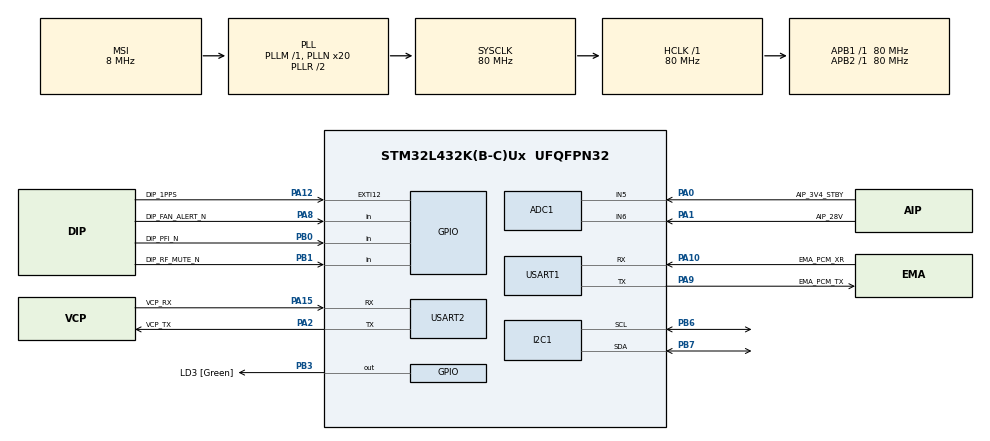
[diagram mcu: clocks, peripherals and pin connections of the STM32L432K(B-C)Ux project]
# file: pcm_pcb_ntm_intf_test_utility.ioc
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ADC1.Channel-0\#ChannelRegularConversion=ADC_CHANNEL_VREFINT
ADC1.Channel-1\#ChannelRegularConversion=ADC_CHANNEL_5
ADC1.Channel-2\#ChannelRegularConversion=ADC_CHANNEL_6
ADC1.NbrOfConversion=3
ADC1.NbrOfConversionFlag=1
ADC1.OffsetNumber-0\#ChannelRegularConversion=ADC_OFFSET_NONE
ADC1.OffsetNumber-1\#ChannelRegularConversion=ADC_OFFSET_NONE
ADC1.OffsetNumber-2\#ChannelRegularConversion=ADC_OFFSET_NONE
ADC1.Rank-0\#ChannelRegularConversion=1
ADC1.Rank-1\#ChannelRegularConversion=2
ADC1.Rank-2\#ChannelRegularConversion=3
ADC1.SamplingTime-0\#ChannelRegularConversion=ADC_SAMPLETIME_247CYCLES_5
ADC1.SamplingTime-1\#ChannelRegularConversion=ADC_SAMPLETIME_247CYCLES_5
ADC1.SamplingTime-2\#ChannelRegularConversion=ADC_SAMPLETIME_247CYCLES_5
ADC1.master=1
FREERTOS.INCLUDE_eTaskGetState=1
FREERTOS.INCLUDE_uxTaskGetStackHighWaterMark=1
FREERTOS.INCLUDE_vTaskDelayUntil=1
FREERTOS.Queues01=serialRxEventQueue,128,uint32_t,0,Dynamic,NULL,NULL;serialCmdTaskRxData,128,uint32_t,0,Dynamic,NULL,NULL;serialCmdTaskTxData,512,uint32_t,0,Dynamic,NULL,NULL;serialEchoTaskRxData,32,uint32_t,0,Dynamic,NULL,NULL;serialEchoTaskTxData,32,uint32_t,0,Dynamic,NULL,NULL
FREERTOS.Tasks01=defaultTask,0,128,StartDefaultTask,Default,NULL,Dynamic,NULL,NULL;serialBufferTask,-1,512,sbt_SerialBufferTask,As external,NULL,Dynamic,NULL,NULL;serialCmdTask,-2,512,sct_SerialCmdTask,As external,NULL,Dynamic,NULL,NULL;serialEchoTask,-2,256,set_SerialEchoTask,As external,NULL,Dynamic,NULL,NULL
FREERTOS.configMAX_TASK_NAME_LEN=32
FREERTOS.configRECORD_STACK_HIGH_ADDRESS=0
FREERTOS.configTOTAL_HEAP_SIZE=12288
I2C1.Timing=0x10909CEC
Mcu.Family=STM32L4
Mcu.Name=STM32L432K(B-C)Ux
Mcu.Package=UFQFPN32
NVIC.EXTI15_10_IRQn=true\:5\:0\:false\:false\:true\:true\:true\:true
NVIC.PriorityGroup=NVIC_PRIORITYGROUP_4
NVIC.TIM1_UP_TIM16_IRQn=true\:0\:0\:false\:false\:true\:false\:false\:true
NVIC.TimeBase=TIM1_UP_TIM16_IRQn
NVIC.TimeBaseIP=TIM16
NVIC.USART1_IRQn=true\:5\:0\:false\:false\:true\:true\:true\:true
NVIC.USART2_IRQn=true\:5\:0\:false\:false\:true\:true\:true\:true
PA0.GPIO_Label=AIP_3V4_STBY
PA0.Signal=ADCx_IN5
PA1.GPIO_Label=AIP_28V
PA1.Signal=ADCx_IN6
PA10.GPIO_Label=EMA_PCM_XR
PA10.Mode=Asynchronous
PA10.Signal=USART1_RX
PA12.GPIO_Label=DIP_1PPS
PA12.Signal=GPXTI12
PA13\ (JTMS-SWDIO).GPIO_Label=SWDIO
PA13\ (JTMS-SWDIO).Signal=SYS_JTMS-SWDIO
PA14\ (JTCK-SWCLK).GPIO_Label=SWCLK
PA14\ (JTCK-SWCLK).Signal=SYS_JTCK-SWCLK
PA15\ (JTDI).GPIO_Label=VCP_RX
PA15\ (JTDI).Mode=Asynchronous
PA15\ (JTDI).Signal=USART2_RX
PA2.GPIO_Label=VCP_TX
PA2.Mode=Asynchronous
PA2.Signal=USART2_TX
PA8.GPIO_Label=DIP_FAN_ALERT_N
PA8.Signal=GPIO_Input
PA9.GPIO_Label=EMA_PCM_TX
PA9.Mode=Asynchronous
PA9.Signal=USART1_TX
PB0.GPIO_Label=DIP_PFI_N
PB0.Signal=GPIO_Input
PB1.GPIO_Label=DIP_RF_MUTE_N
PB1.Signal=GPIO_Input
PB3\ (JTDO-TRACESWO).GPIO_Label=LD3 [Green]
PB3\ (JTDO-TRACESWO).Signal=GPIO_Output
PB6.Mode=I2C
PB6.Signal=I2C1_SCL
PB7.Mode=I2C
PB7.Signal=I2C1_SDA
PC14-OSC32_IN\ (PC14).Mode=LSE-External-Oscillator
PC14-OSC32_IN\ (PC14).Signal=RCC_OSC32_IN
PC15-OSC32_OUT\ (PC15).Mode=LSE-External-Oscillator
PC15-OSC32_OUT\ (PC15).Signal=RCC_OSC32_OUT
ProjectManager.HeapSize=0x200
ProjectManager.StackSize=0x400
ProjectManager.TargetToolchain=STM32CubeIDE
RCC.ADCFreq_Value=32000000
RCC.AHBFreq_Value=80000000
RCC.APB1Freq_Value=80000000
RCC.APB1TimFreq_Value=80000000
RCC.APB2Freq_Value=80000000
RCC.APB2TimFreq_Value=80000000
RCC.CortexFreq_Value=80000000
RCC.HCLKFreq_Value=80000000
RCC.HSE_VALUE=8000000
RCC.HSI16_VALUE=16000000
RCC.HSI48_VALUE=48000000
RCC.HSI_VALUE=16000000
RCC.MSIClockRange=RCC_MSIRANGE_7
RCC.MSI_VALUE=8000000
RCC.PLLMUL=RCC_PLLMUL_4
RCC.PLLN=20
RCC.SYSCLKFreq_VALUE=80000000
RCC.SYSCLKSource=RCC_SYSCLKSOURCE_PLLCLK
RCC.USBFreq_Value=32000000
RCC.VCOOutputFreq_Value=160000000
SH.ADCx_IN5.0=ADC1_IN5,IN5-Single-Ended
SH.ADCx_IN6.0=ADC1_IN6,IN6-Single-Ended
USART1.VirtualMode-Asynchronous=VM_ASYNC
USART2.VirtualMode-Asynchronous=VM_ASYNC
VP_ADC1_Vref_Input.Mode=IN-Vrefint
VP_FREERTOS_VS_CMSIS_V1.Mode=CMSIS_V1
VP_SYS_VS_tim16.Mode=TIM16
board=NUCLEO-L432KC

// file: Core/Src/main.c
/* USER CODE BEGIN Header */
/**
  ******************************************************************************
  * @file           : main.c
  * @brief          : Main program body
  ******************************************************************************
  * @attention
  *
  * <h2><center>&copy; Copyright (c) 2020 STMicroelectronics.
  * All rights reserved.</center></h2>
  *
  * This software component is licensed by ST under BSD 3-Clause license,
  * the "License"; You may not use this file except in compliance with the
  * License. You may obtain a copy of the License at:
  *                        opensource.org/licenses/BSD-3-Clause
  *
  ******************************************************************************
  */
/* USER CODE END Header */
#include "main.h"
#include "cmsis_os.h"

/* USER CODE BEGIN Includes */
#include "serial_buffer_task.h"
#include "serial_echo_task.h"
#include "serial_cmd_task.h"
/* USER CODE END Includes */

ADC_HandleTypeDef hadc1;

I2C_HandleTypeDef hi2c1;

UART_HandleTypeDef huart1;
UART_HandleTypeDef huart2;

osThreadId defaultTaskHandle;
osThreadId serialBufferTaskHandle;
osThreadId serialCmdTaskHandle;
osThreadId serialEchoTaskHandle;
osMessageQId serialRxEventQueueHandle;
osMessageQId serialCmdTaskRxDataHandle;
osMessageQId serialCmdTaskTxDataHandle;
osMessageQId serialEchoTaskRxDataHandle;
osMessageQId serialEchoTaskTxDataHandle;

void SystemClock_Config(void);
static void MX_GPIO_Init(void);
static void MX_ADC1_Init(void);
static void MX_I2C1_Init(void);
static void MX_USART1_UART_Init(void);
static void MX_USART2_UART_Init(void);
void StartDefaultTask(void const * argument);
extern void sbt_SerialBufferTask(void const * argument);
extern void sct_SerialCmdTask(void const * argument);
extern void set_SerialEchoTask(void const * argument);

int main(void)
{
  /* USER CODE BEGIN 1 */
	sbt_Init_t sbt_init_data;
	sct_Init_t sct_init_data;
	set_Init_t set_init_data;
  /* USER CODE END 1 */

  /* MCU Configuration--------------------------------------------------------*/

  /* Reset of all peripherals, Initializes the Flash interface and the Systick. */
  HAL_Init();

  /* Configure the system clock */
  SystemClock_Config();

  /* Initialize all configured peripherals */
  MX_GPIO_Init();
  MX_ADC1_Init();
  MX_I2C1_Init();
  MX_USART1_UART_Init();
  MX_USART2_UART_Init();

  /* Create the queue(s) */
  /* definition and creation of serialRxEventQueue */
  osMessageQDef(serialRxEventQueue, 128, uint32_t);
  serialRxEventQueueHandle = osMessageCreate(osMessageQ(serialRxEventQueue), NULL);

  /* definition and creation of serialCmdTaskRxData */
  osMessageQDef(serialCmdTaskRxData, 128, uint32_t);
  serialCmdTaskRxDataHandle = osMessageCreate(osMessageQ(serialCmdTaskRxData), NULL);

  /* definition and creation of serialCmdTaskTxData */
  osMessageQDef(serialCmdTaskTxData, 512, uint32_t);
  serialCmdTaskTxDataHandle = osMessageCreate(osMessageQ(serialCmdTaskTxData), NULL);

  /* definition and creation of serialEchoTaskRxData */
  osMessageQDef(serialEchoTaskRxData, 32, uint32_t);
  serialEchoTaskRxDataHandle = osMessageCreate(osMessageQ(serialEchoTaskRxData), NULL);

  /* definition and creation of serialEchoTaskTxData */
  osMessageQDef(serialEchoTaskTxData, 32, uint32_t);
  serialEchoTaskTxDataHandle = osMessageCreate(osMessageQ(serialEchoTaskTxData), NULL);

  /* Create the thread(s) */
  /* definition and creation of defaultTask */
  osThreadDef(defaultTask, StartDefaultTask, osPriorityNormal, 0, 128);
  defaultTaskHandle = osThreadCreate(osThread(defaultTask), NULL);

  /* definition and creation of serialBufferTask */
  osThreadDef(serialBufferTask, sbt_SerialBufferTask, osPriorityBelowNormal, 0, 512);
  serialBufferTaskHandle = osThreadCreate(osThread(serialBufferTask), NULL);

  /* definition and creation of serialCmdTask */
  osThreadDef(serialCmdTask, sct_SerialCmdTask, osPriorityLow, 0, 512);
  serialCmdTaskHandle = osThreadCreate(osThread(serialCmdTask), NULL);

  /* definition and creation of serialEchoTask */
  osThreadDef(serialEchoTask, set_SerialEchoTask, osPriorityLow, 0, 256);
  serialEchoTaskHandle = osThreadCreate(osThread(serialEchoTask), NULL);

  /* USER CODE BEGIN RTOS_THREADS */
  /* add threads, ... */
  sbt_init_data.rx_event_queue				= serialRxEventQueueHandle;
  sbt_init_data.no_uarts					= 2;
  sbt_init_data.uarts[0].huart 				= &huart2;
  sbt_init_data.uarts[0].uart_rx_data_queue	= serialCmdTaskRxDataHandle;
  sbt_init_data.uarts[0].uart_tx_data_queue	= serialCmdTaskTxDataHandle;
  sbt_init_data.uarts[1].huart 				= &huart1;
  sbt_init_data.uarts[1].uart_rx_data_queue	= serialEchoTaskRxDataHandle;
  sbt_init_data.uarts[1].uart_tx_data_queue	= serialEchoTaskTxDataHandle;
  sbt_InitTask(sbt_init_data);

  set_init_data.tx_data_queue = serialEchoTaskTxDataHandle;
  set_init_data.rx_data_queue = serialEchoTaskRxDataHandle;
  set_InitTask(set_init_data);

  sct_init_data.tx_data_queue 				= serialCmdTaskTxDataHandle;
  sct_init_data.rx_data_queue 				= serialCmdTaskRxDataHandle;
  sct_init_data.i2c_device					= &hi2c1;
  sct_init_data.fan_alert_n_gpio_port		= DIP_FAN_ALERT_N_GPIO_Port;
  sct_init_data.fan_alert_n_gpio_pin		= DIP_FAN_ALERT_N_Pin;
  sct_init_data.rf_mute_n_gpio_port			= DIP_RF_MUTE_N_GPIO_Port;
  sct_init_data.rf_mute_n_gpio_pin			= DIP_RF_MUTE_N_Pin;
  sct_init_data.pfi_n_gpio_port 			= DIP_PFI_N_GPIO_Port;
  sct_init_data.pfi_n_gpio_pin				= DIP_PFI_N_Pin;
  sct_init_data.pps_gpio_pin				= DIP_1PPS_Pin;
  sct_init_data.aop_adc_hadc				= &hadc1;
  sct_InitTask(sct_init_data);
  /* USER CODE END RTOS_THREADS */

  /* Start scheduler */
  osKernelStart();

  /* We should never get here as control is now taken by the scheduler */
  /* Infinite loop */
  while (1)
  {

  }
}

void SystemClock_Config(void)
{
  RCC_OscInitTypeDef RCC_OscInitStruct = {0};
  RCC_ClkInitTypeDef RCC_ClkInitStruct = {0};
  RCC_PeriphCLKInitTypeDef PeriphClkInit = {0};

  /** Configure LSE Drive Capability
  */
  HAL_PWR_EnableBkUpAccess();
  __HAL_RCC_LSEDRIVE_CONFIG(RCC_LSEDRIVE_LOW);
  /** Initializes the RCC Oscillators according to the specified parameters
  * in the RCC_OscInitTypeDef structure.
  */
  RCC_OscInitStruct.OscillatorType = RCC_OSCILLATORTYPE_LSE|RCC_OSCILLATORTYPE_MSI;
  RCC_OscInitStruct.LSEState = RCC_LSE_ON;
  RCC_OscInitStruct.MSIState = RCC_MSI_ON;
  RCC_OscInitStruct.MSICalibrationValue = 0;
  RCC_OscInitStruct.MSIClockRange = RCC_MSIRANGE_7;
  RCC_OscInitStruct.PLL.PLLState = RCC_PLL_ON;
  RCC_OscInitStruct.PLL.PLLSource = RCC_PLLSOURCE_MSI;
  RCC_OscInitStruct.PLL.PLLM = 1;
  RCC_OscInitStruct.PLL.PLLN = 20;
  RCC_OscInitStruct.PLL.PLLP = RCC_PLLP_DIV7;
  RCC_OscInitStruct.PLL.PLLQ = RCC_PLLQ_DIV2;
  RCC_OscInitStruct.PLL.PLLR = RCC_PLLR_DIV2;
  if (HAL_RCC_OscConfig(&RCC_OscInitStruct) != HAL_OK)
  {
    Error_Handler();
  }
  /** Initializes the CPU, AHB and APB buses clocks
  */
  RCC_ClkInitStruct.ClockType = RCC_CLOCKTYPE_HCLK|RCC_CLOCKTYPE_SYSCLK
                              |RCC_CLOCKTYPE_PCLK1|RCC_CLOCKTYPE_PCLK2;
  RCC_ClkInitStruct.SYSCLKSource = RCC_SYSCLKSOURCE_PLLCLK;
  RCC_ClkInitStruct.AHBCLKDivider = RCC_SYSCLK_DIV1;
  RCC_ClkInitStruct.APB1CLKDivider = RCC_HCLK_DIV1;
  RCC_ClkInitStruct.APB2CLKDivider = RCC_HCLK_DIV1;

  if (HAL_RCC_ClockConfig(&RCC_ClkInitStruct, FLASH_LATENCY_4) != HAL_OK)
  {
    Error_Handler();
  }
  PeriphClkInit.PeriphClockSelection = RCC_PERIPHCLK_USART1|RCC_PERIPHCLK_USART2
                              |RCC_PERIPHCLK_I2C1|RCC_PERIPHCLK_ADC;
  PeriphClkInit.Usart1ClockSelection = RCC_USART1CLKSOURCE_PCLK2;
  PeriphClkInit.Usart2ClockSelection = RCC_USART2CLKSOURCE_PCLK1;
  PeriphClkInit.I2c1ClockSelection = RCC_I2C1CLKSOURCE_PCLK1;
  PeriphClkInit.AdcClockSelection = RCC_ADCCLKSOURCE_PLLSAI1;
  PeriphClkInit.PLLSAI1.PLLSAI1Source = RCC_PLLSOURCE_MSI;
  PeriphClkInit.PLLSAI1.PLLSAI1M = 1;
  PeriphClkInit.PLLSAI1.PLLSAI1N = 8;
  PeriphClkInit.PLLSAI1.PLLSAI1P = RCC_PLLP_DIV7;
  PeriphClkInit.PLLSAI1.PLLSAI1Q = RCC_PLLQ_DIV2;
  PeriphClkInit.PLLSAI1.PLLSAI1R = RCC_PLLR_DIV2;
  PeriphClkInit.PLLSAI1.PLLSAI1ClockOut = RCC_PLLSAI1_ADC1CLK;
  if (HAL_RCCEx_PeriphCLKConfig(&PeriphClkInit) != HAL_OK)
  {
    Error_Handler();
  }
  /** Configure the main internal regulator output voltage
  */
  if (HAL_PWREx_ControlVoltageScaling(PWR_REGULATOR_VOLTAGE_SCALE1) != HAL_OK)
  {
    Error_Handler();
  }
  /** Enable MSI Auto calibration
  */
  HAL_RCCEx_EnableMSIPLLMode();
}

static void MX_ADC1_Init(void)
{

  ADC_ChannelConfTypeDef sConfig = {0};

  /** Common config
  */
  hadc1.Instance = ADC1;
  hadc1.Init.ClockPrescaler = ADC_CLOCK_ASYNC_DIV1;
  hadc1.Init.Resolution = ADC_RESOLUTION_12B;
  hadc1.Init.DataAlign = ADC_DATAALIGN_RIGHT;
  hadc1.Init.ScanConvMode = ADC_SCAN_ENABLE;
  hadc1.Init.EOCSelection = ADC_EOC_SINGLE_CONV;
  hadc1.Init.LowPowerAutoWait = DISABLE;
  hadc1.Init.ContinuousConvMode = DISABLE;
  hadc1.Init.NbrOfConversion = 3;
  hadc1.Init.DiscontinuousConvMode = DISABLE;
  hadc1.Init.ExternalTrigConv = ADC_SOFTWARE_START;
  hadc1.Init.ExternalTrigConvEdge = ADC_EXTERNALTRIGCONVEDGE_NONE;
  hadc1.Init.DMAContinuousRequests = DISABLE;
  hadc1.Init.Overrun = ADC_OVR_DATA_PRESERVED;
  hadc1.Init.OversamplingMode = DISABLE;
  if (HAL_ADC_Init(&hadc1) != HAL_OK)
  {
    Error_Handler();
  }
  /** Configure Regular Channel
  */
  sConfig.Channel = ADC_CHANNEL_VREFINT;
  sConfig.Rank = ADC_REGULAR_RANK_1;
  sConfig.SamplingTime = ADC_SAMPLETIME_247CYCLES_5;
  sConfig.SingleDiff = ADC_SINGLE_ENDED;
  sConfig.OffsetNumber = ADC_OFFSET_NONE;
  sConfig.Offset = 0;
  if (HAL_ADC_ConfigChannel(&hadc1, &sConfig) != HAL_OK)
  {
    Error_Handler();
  }
  /** Configure Regular Channel
  */
  sConfig.Channel = ADC_CHANNEL_5;
  sConfig.Rank = ADC_REGULAR_RANK_2;
  if (HAL_ADC_ConfigChannel(&hadc1, &sConfig) != HAL_OK)
  {
    Error_Handler();
  }
  /** Configure Regular Channel
  */
  sConfig.Channel = ADC_CHANNEL_6;
  sConfig.Rank = ADC_REGULAR_RANK_3;
  if (HAL_ADC_ConfigChannel(&hadc1, &sConfig) != HAL_OK)
  {
    Error_Handler();
  }

}

static void MX_I2C1_Init(void)
{

  hi2c1.Instance = I2C1;
  hi2c1.Init.Timing = 0x10909CEC;
  hi2c1.Init.OwnAddress1 = 0;
  hi2c1.Init.AddressingMode = I2C_ADDRESSINGMODE_7BIT;
  hi2c1.Init.DualAddressMode = I2C_DUALADDRESS_DISABLE;
  hi2c1.Init.OwnAddress2 = 0;
  hi2c1.Init.OwnAddress2Masks = I2C_OA2_NOMASK;
  hi2c1.Init.GeneralCallMode = I2C_GENERALCALL_DISABLE;
  hi2c1.Init.NoStretchMode = I2C_NOSTRETCH_DISABLE;
  if (HAL_I2C_Init(&hi2c1) != HAL_OK)
  {
    Error_Handler();
  }
  /** Configure Analogue filter
  */
  if (HAL_I2CEx_ConfigAnalogFilter(&hi2c1, I2C_ANALOGFILTER_ENABLE) != HAL_OK)
  {
    Error_Handler();
  }
  /** Configure Digital filter
  */
  if (HAL_I2CEx_ConfigDigitalFilter(&hi2c1, 0) != HAL_OK)
  {
    Error_Handler();
  }

}

static void MX_USART1_UART_Init(void)
{

  huart1.Instance = USART1;
  huart1.Init.BaudRate = 115200;
  huart1.Init.WordLength = UART_WORDLENGTH_8B;
  huart1.Init.StopBits = UART_STOPBITS_1;
  huart1.Init.Parity = UART_PARITY_NONE;
  huart1.Init.Mode = UART_MODE_TX_RX;
  huart1.Init.HwFlowCtl = UART_HWCONTROL_NONE;
  huart1.Init.OverSampling = UART_OVERSAMPLING_16;
  huart1.Init.OneBitSampling = UART_ONE_BIT_SAMPLE_DISABLE;
  huart1.AdvancedInit.AdvFeatureInit = UART_ADVFEATURE_NO_INIT;
  if (HAL_UART_Init(&huart1) != HAL_OK)
  {
    Error_Handler();
  }

}

static void MX_USART2_UART_Init(void)
{

  huart2.Instance = USART2;
  huart2.Init.BaudRate = 115200;
  huart2.Init.WordLength = UART_WORDLENGTH_8B;
  huart2.Init.StopBits = UART_STOPBITS_1;
  huart2.Init.Parity = UART_PARITY_NONE;
  huart2.Init.Mode = UART_MODE_TX_RX;
  huart2.Init.HwFlowCtl = UART_HWCONTROL_NONE;
  huart2.Init.OverSampling = UART_OVERSAMPLING_16;
  huart2.Init.OneBitSampling = UART_ONE_BIT_SAMPLE_DISABLE;
  huart2.AdvancedInit.AdvFeatureInit = UART_ADVFEATURE_NO_INIT;
  if (HAL_UART_Init(&huart2) != HAL_OK)
  {
    Error_Handler();
  }

}

static void MX_GPIO_Init(void)
{
  GPIO_InitTypeDef GPIO_InitStruct = {0};

  /* GPIO Ports Clock Enable */
  __HAL_RCC_GPIOC_CLK_ENABLE();
  __HAL_RCC_GPIOA_CLK_ENABLE();
  __HAL_RCC_GPIOB_CLK_ENABLE();

  /*Configure GPIO pin Output Level */
  HAL_GPIO_WritePin(LD3_GPIO_Port, LD3_Pin, GPIO_PIN_RESET);

  /*Configure GPIO pins : DIP_PFI_N_Pin DIP_RF_MUTE_N_Pin */
  GPIO_InitStruct.Pin = DIP_PFI_N_Pin|DIP_RF_MUTE_N_Pin;
  GPIO_InitStruct.Mode = GPIO_MODE_INPUT;
  GPIO_InitStruct.Pull = GPIO_NOPULL;
  HAL_GPIO_Init(GPIOB, &GPIO_InitStruct);

  /*Configure GPIO pin : DIP_FAN_ALERT_N_Pin */
  GPIO_InitStruct.Pin = DIP_FAN_ALERT_N_Pin;
  GPIO_InitStruct.Mode = GPIO_MODE_INPUT;
  GPIO_InitStruct.Pull = GPIO_NOPULL;
  HAL_GPIO_Init(DIP_FAN_ALERT_N_GPIO_Port, &GPIO_InitStruct);

  /*Configure GPIO pin : DIP_1PPS_Pin */
  GPIO_InitStruct.Pin = DIP_1PPS_Pin;
  GPIO_InitStruct.Mode = GPIO_MODE_IT_RISING;
  GPIO_InitStruct.Pull = GPIO_NOPULL;
  HAL_GPIO_Init(DIP_1PPS_GPIO_Port, &GPIO_InitStruct);

  /*Configure GPIO pin : LD3_Pin */
  GPIO_InitStruct.Pin = LD3_Pin;
  GPIO_InitStruct.Mode = GPIO_MODE_OUTPUT_PP;
  GPIO_InitStruct.Pull = GPIO_NOPULL;
  GPIO_InitStruct.Speed = GPIO_SPEED_FREQ_LOW;
  HAL_GPIO_Init(LD3_GPIO_Port, &GPIO_InitStruct);

  /* EXTI interrupt init*/
  HAL_NVIC_SetPriority(EXTI15_10_IRQn, 5, 0);
  HAL_NVIC_EnableIRQ(EXTI15_10_IRQn);

}

void StartDefaultTask(void const * argument)
{
  /* USER CODE BEGIN 5 */
  /* Infinite loop */
  for(;;)
  {
	  osDelay(1000);
	  HAL_GPIO_TogglePin(LD3_GPIO_Port, LD3_Pin);
  }
  /* USER CODE END 5 */
}

void HAL_TIM_PeriodElapsedCallback(TIM_HandleTypeDef *htim)
{
  if (htim->Instance == TIM16) {
    HAL_IncTick();
  }
}

void Error_Handler(void)
{
}

/************************ (C) COPYRIGHT STMicroelectronics *****END OF FILE****/
